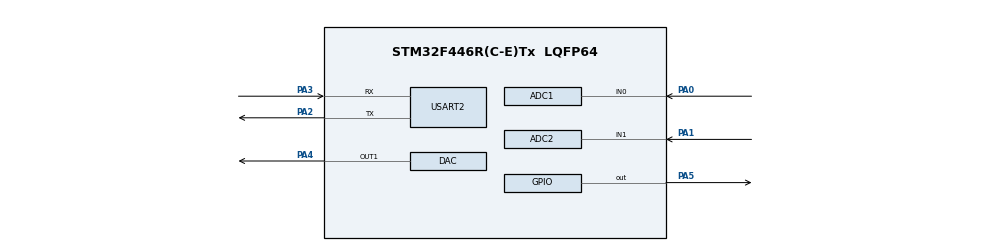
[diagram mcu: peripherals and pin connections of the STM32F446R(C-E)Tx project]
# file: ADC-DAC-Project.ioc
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ADC1.Channel-0\#ChannelRegularConversion=ADC_CHANNEL_0
ADC1.ClockPrescaler=ADC_CLOCK_SYNC_PCLK_DIV4
ADC1.ContinuousConvMode=ENABLE
ADC1.DMAContinuousRequests=ENABLE
ADC1.EnableAnalogWatchDog=true
ADC1.ExternalTrigConv=ADC_SOFTWARE_START
ADC1.HighThreshold=3100
ADC1.ITMode=ENABLE
ADC1.LowThreshold=1240
ADC1.Mode=ADC_DUALMODE_REGSIMULT
ADC1.NbrOfConversion=1
ADC1.NbrOfConversionFlag=1
ADC1.Rank-0\#ChannelRegularConversion=1
ADC1.SamplingTime-0\#ChannelRegularConversion=ADC_SAMPLETIME_84CYCLES
ADC1.master=1
ADC2.Channel-0\#ChannelRegularConversion=ADC_CHANNEL_1
ADC2.ClockPrescaler=ADC_CLOCK_SYNC_PCLK_DIV4
ADC2.DMAAccessMode=ADC_DMAACCESSMODE_2
ADC2.Mode=ADC_DUALMODE_REGSIMULT
ADC2.NbrOfConversionFlag=1
ADC2.Rank-0\#ChannelRegularConversion=1
ADC2.SamplingTime-0\#ChannelRegularConversion=ADC_SAMPLETIME_84CYCLES
Dma.ADC1.0.Direction=DMA_PERIPH_TO_MEMORY
Dma.ADC1.0.FIFOMode=DMA_FIFOMODE_DISABLE
Dma.ADC1.0.Instance=DMA2_Stream0
Dma.ADC1.0.MemDataAlignment=DMA_MDATAALIGN_WORD
Dma.ADC1.0.MemInc=DMA_MINC_ENABLE
Dma.ADC1.0.Mode=DMA_CIRCULAR
Dma.ADC1.0.PeriphDataAlignment=DMA_PDATAALIGN_WORD
Dma.ADC1.0.PeriphInc=DMA_PINC_DISABLE
Dma.ADC1.0.Priority=DMA_PRIORITY_LOW
Dma.Request0=ADC1
Mcu.Family=STM32F4
Mcu.Name=STM32F446R(C-E)Tx
Mcu.Package=LQFP64
NVIC.ADC_IRQn=true\:0\:0\:false\:false\:true\:true\:true\:true
NVIC.DMA2_Stream0_IRQn=true\:0\:0\:false\:false\:true\:false\:true\:true
NVIC.PriorityGroup=NVIC_PRIORITYGROUP_4
PA0-WKUP.Signal=ADCx_IN0
PA1.Signal=ADCx_IN1
PA13.Mode=Serial_Wire
PA13.Signal=SYS_JTMS-SWDIO
PA14.Mode=Serial_Wire
PA14.Signal=SYS_JTCK-SWCLK
PA2.Mode=Asynchronous
PA2.Signal=USART2_TX
PA3.Mode=Asynchronous
PA3.Signal=USART2_RX
PA4.Signal=COMP_DAC1_group
PA5.Signal=GPIO_Output
ProjectManager.HeapSize=0x200
ProjectManager.StackSize=0x400
ProjectManager.TargetToolchain=STM32CubeIDE
RCC.CortexFreq_Value=16000000
RCC.USBFreq_Value=96000000
RCC.VCOOutputFreq_Value=192000000
SH.ADCx_IN0.0=ADC1_IN0,IN0
SH.ADCx_IN1.0=ADC2_IN1,IN1
SH.COMP_DAC1_group.0=DAC_OUT1,DAC_OUT1
TIM2.Period=499
TIM2.Prescaler=15999
TIM2.TIM_MasterOutputTrigger=TIM_TRGO_UPDATE
USART2.VirtualMode=VM_ASYNC
VP_TIM2_VS_ClockSourceINT.Mode=Internal
board=custom

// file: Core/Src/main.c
/* USER CODE BEGIN Header */
/**
  ******************************************************************************
  * @file           : main.c
  * @brief          : Main program body
  ******************************************************************************
  * @attention
  *
  * Copyright (c) 2026 STMicroelectronics.
  * All rights reserved.
  *
  * This software is licensed under terms that can be found in the LICENSE file
  * in the root directory of this software component.
  * If no LICENSE file comes with this software, it is provided AS-IS.
  *
  ******************************************************************************
  */
/* USER CODE END Header */
#include "main.h"

/* USER CODE BEGIN Includes */
#include "stdio.h"
#include "string.h"
/* USER CODE END Includes */

ADC_HandleTypeDef hadc1;
ADC_HandleTypeDef hadc2;
DMA_HandleTypeDef hdma_adc1;

DAC_HandleTypeDef hdac;

TIM_HandleTypeDef htim2;

UART_HandleTypeDef huart2;

/* USER CODE BEGIN PV */
#define FILTER_DEPTH 10

uint32_t dual_adc_raw = 0;
uint16_t adc1_raw = 0;
uint16_t adc2_raw = 0;
uint16_t filter_buf_ch0[FILTER_DEPTH] = {0};
uint16_t filter_buf_ch1[FILTER_DEPTH] = {0};
uint8_t filter_idx = 0;
uint32_t filtered_ch0 = 0;
uint32_t filtered_ch1 = 0;
uint32_t filtered_mv_ch0 = 0;
uint32_t filtered_mv_ch1 = 0;
volatile uint8_t adc_ready = 0;
volatile uint8_t awd_alarm = 0;
/* USER CODE END PV */

void SystemClock_Config(void);
static void MX_GPIO_Init(void);
static void MX_DMA_Init(void);
static void MX_ADC1_Init(void);
static void MX_USART2_UART_Init(void);
static void MX_TIM2_Init(void);
static void MX_DAC_Init(void);
static void MX_ADC2_Init(void);

/* USER CODE BEGIN 0 */
uint32_t Apply_Moving_Average(uint16_t new_sample, uint16_t *buffer, uint8_t index)
{
  buffer[index] = new_sample;
  uint32_t sum = 0;
  for (uint8_t i = 0; i < FILTER_DEPTH; i++)
  {
    sum += buffer[i];
  }
  return (sum / FILTER_DEPTH);
}

void HAL_ADC_ConvCpltCallback(ADC_HandleTypeDef* hadc)
{
  if (hadc->Instance == ADC1)
  {
    adc_ready = 1;
  }
}
void HAL_ADC_LevelOutOfWindowCallback(ADC_HandleTypeDef* hadc)
{
  if (hadc->Instance == ADC1)
  {
    awd_alarm = 1;
  }
}
/* USER CODE END 0 */

int main(void)
{

  /* MCU Configuration--------------------------------------------------------*/

  /* Reset of all peripherals, Initializes the Flash interface and the Systick. */
  HAL_Init();

  /* Configure the system clock */
  SystemClock_Config();

  /* Initialize all configured peripherals */
  MX_GPIO_Init();
  MX_DMA_Init();
  MX_ADC1_Init();
  MX_USART2_UART_Init();
  MX_TIM2_Init();
  MX_DAC_Init();
  MX_ADC2_Init();
  /* USER CODE BEGIN 2 */
  HAL_ADC_Start(&hadc2);
  HAL_ADCEx_MultiModeStart_DMA(&hadc1, &dual_adc_raw, 1);
  HAL_DAC_Start(&hdac, DAC_CHANNEL_1);
  HAL_DAC_SetValue(&hdac, DAC_CHANNEL_1, DAC_ALIGN_12B_R, 1861);
  /* USER CODE END 2 */

  /* Infinite loop */
  while (1)
  {

    /* USER CODE BEGIN 3 */
	  if (adc_ready)
	      {
	        adc_ready = 0;

	        adc1_raw = (uint16_t)(dual_adc_raw & 0xFFFF);
	        adc2_raw = (uint16_t)((dual_adc_raw >> 16) & 0xFFFF);

	        filtered_ch0 = Apply_Moving_Average(adc1_raw, filter_buf_ch0, filter_idx);
	        filtered_ch1 = Apply_Moving_Average(adc2_raw, filter_buf_ch1, filter_idx);

	        filter_idx = (filter_idx + 1) % FILTER_DEPTH;
	        filtered_mv_ch0 = (filtered_ch0 * 3300) / 4095;
	        filtered_mv_ch1 = (filtered_ch1 * 3300) / 4095;

	        char msg[200];

	        if (awd_alarm)
	        {
	          awd_alarm = 0;
	          HAL_GPIO_WritePin(GPIOA, GPIO_PIN_5, GPIO_PIN_SET);

	          snprintf(msg, sizeof(msg),
	                   "[DUAL] ADC1 RAW: %u | ADC1 FILT: %u (%lu mV) [ALARM] | ADC2 RAW: %u | ADC2 FILT: %u (%lu mV)\r\n",
	                   adc1_raw, (unsigned int)filtered_ch0, (unsigned long)filtered_mv_ch0,
	                   adc2_raw, (unsigned int)filtered_ch1, (unsigned long)filtered_mv_ch1);
	        }
	        else
	        {
	          HAL_GPIO_WritePin(GPIOA, GPIO_PIN_5, GPIO_PIN_RESET);

	          snprintf(msg, sizeof(msg),
	                   "[DUAL] ADC1 RAW: %u | ADC1 FILT: %u (%lu mV) [NORMAL] | ADC2 RAW: %u | ADC2 FILT: %u (%lu mV)\r\n",
	                   adc1_raw, (unsigned int)filtered_ch0, (unsigned long)filtered_mv_ch0,
	                   adc2_raw, (unsigned int)filtered_ch1, (unsigned long)filtered_mv_ch1);
	        }

	        HAL_UART_Transmit(&huart2, (uint8_t*)msg, (uint16_t)strlen(msg), HAL_MAX_DELAY);

	        HAL_Delay(200);
	      }
	    }
  /* USER CODE END 3 */
}

void SystemClock_Config(void)
{
  RCC_OscInitTypeDef RCC_OscInitStruct = {0};
  RCC_ClkInitTypeDef RCC_ClkInitStruct = {0};

  /** Configure the main internal regulator output voltage
  */
  __HAL_RCC_PWR_CLK_ENABLE();
  __HAL_PWR_VOLTAGESCALING_CONFIG(PWR_REGULATOR_VOLTAGE_SCALE3);

  /** Initializes the RCC Oscillators according to the specified parameters
  * in the RCC_OscInitTypeDef structure.
  */
  RCC_OscInitStruct.OscillatorType = RCC_OSCILLATORTYPE_HSI;
  RCC_OscInitStruct.HSIState = RCC_HSI_ON;
  RCC_OscInitStruct.HSICalibrationValue = RCC_HSICALIBRATION_DEFAULT;
  RCC_OscInitStruct.PLL.PLLState = RCC_PLL_NONE;
  if (HAL_RCC_OscConfig(&RCC_OscInitStruct) != HAL_OK)
  {
    Error_Handler();
  }

  /** Initializes the CPU, AHB and APB buses clocks
  */
  RCC_ClkInitStruct.ClockType = RCC_CLOCKTYPE_HCLK|RCC_CLOCKTYPE_SYSCLK
                              |RCC_CLOCKTYPE_PCLK1|RCC_CLOCKTYPE_PCLK2;
  RCC_ClkInitStruct.SYSCLKSource = RCC_SYSCLKSOURCE_HSI;
  RCC_ClkInitStruct.AHBCLKDivider = RCC_SYSCLK_DIV1;
  RCC_ClkInitStruct.APB1CLKDivider = RCC_HCLK_DIV1;
  RCC_ClkInitStruct.APB2CLKDivider = RCC_HCLK_DIV1;

  if (HAL_RCC_ClockConfig(&RCC_ClkInitStruct, FLASH_LATENCY_0) != HAL_OK)
  {
    Error_Handler();
  }
}

static void MX_ADC1_Init(void)
{

  ADC_MultiModeTypeDef multimode = {0};
  ADC_AnalogWDGConfTypeDef AnalogWDGConfig = {0};
  ADC_ChannelConfTypeDef sConfig = {0};

  /** Configure the global features of the ADC (Clock, Resolution, Data Alignment and number of conversion)
  */
  hadc1.Instance = ADC1;
  hadc1.Init.ClockPrescaler = ADC_CLOCK_SYNC_PCLK_DIV4;
  hadc1.Init.Resolution = ADC_RESOLUTION_12B;
  hadc1.Init.ScanConvMode = DISABLE;
  hadc1.Init.ContinuousConvMode = ENABLE;
  hadc1.Init.DiscontinuousConvMode = DISABLE;
  hadc1.Init.ExternalTrigConvEdge = ADC_EXTERNALTRIGCONVEDGE_NONE;
  hadc1.Init.ExternalTrigConv = ADC_SOFTWARE_START;
  hadc1.Init.DataAlign = ADC_DATAALIGN_RIGHT;
  hadc1.Init.NbrOfConversion = 1;
  hadc1.Init.DMAContinuousRequests = ENABLE;
  hadc1.Init.EOCSelection = ADC_EOC_SINGLE_CONV;
  if (HAL_ADC_Init(&hadc1) != HAL_OK)
  {
    Error_Handler();
  }

  /** Configure the ADC multi-mode
  */
  multimode.Mode = ADC_DUALMODE_REGSIMULT;
  multimode.DMAAccessMode = ADC_DMAACCESSMODE_2;
  multimode.TwoSamplingDelay = ADC_TWOSAMPLINGDELAY_5CYCLES;
  if (HAL_ADCEx_MultiModeConfigChannel(&hadc1, &multimode) != HAL_OK)
  {
    Error_Handler();
  }

  /** Configure the analog watchdog
  */
  AnalogWDGConfig.WatchdogMode = ADC_ANALOGWATCHDOG_SINGLE_REG;
  AnalogWDGConfig.HighThreshold = 3100;
  AnalogWDGConfig.LowThreshold = 1240;
  AnalogWDGConfig.Channel = ADC_CHANNEL_0;
  AnalogWDGConfig.ITMode = ENABLE;
  if (HAL_ADC_AnalogWDGConfig(&hadc1, &AnalogWDGConfig) != HAL_OK)
  {
    Error_Handler();
  }

  /** Configure for the selected ADC regular channel its corresponding rank in the sequencer and its sample time.
  */
  sConfig.Channel = ADC_CHANNEL_0;
  sConfig.Rank = 1;
  sConfig.SamplingTime = ADC_SAMPLETIME_84CYCLES;
  if (HAL_ADC_ConfigChannel(&hadc1, &sConfig) != HAL_OK)
  {
    Error_Handler();
  }

}

static void MX_ADC2_Init(void)
{

  ADC_ChannelConfTypeDef sConfig = {0};

  /** Configure the global features of the ADC (Clock, Resolution, Data Alignment and number of conversion)
  */
  hadc2.Instance = ADC2;
  hadc2.Init.ClockPrescaler = ADC_CLOCK_SYNC_PCLK_DIV4;
  hadc2.Init.Resolution = ADC_RESOLUTION_12B;
  hadc2.Init.ScanConvMode = DISABLE;
  hadc2.Init.ContinuousConvMode = ENABLE;
  hadc2.Init.DiscontinuousConvMode = DISABLE;
  hadc2.Init.DataAlign = ADC_DATAALIGN_RIGHT;
  hadc2.Init.NbrOfConversion = 1;
  hadc2.Init.DMAContinuousRequests = DISABLE;
  hadc2.Init.EOCSelection = ADC_EOC_SINGLE_CONV;
  if (HAL_ADC_Init(&hadc2) != HAL_OK)
  {
    Error_Handler();
  }

  /** Configure for the selected ADC regular channel its corresponding rank in the sequencer and its sample time.
  */
  sConfig.Channel = ADC_CHANNEL_1;
  sConfig.Rank = 1;
  sConfig.SamplingTime = ADC_SAMPLETIME_84CYCLES;
  if (HAL_ADC_ConfigChannel(&hadc2, &sConfig) != HAL_OK)
  {
    Error_Handler();
  }

}

static void MX_DAC_Init(void)
{

  DAC_ChannelConfTypeDef sConfig = {0};

  /** DAC Initialization
  */
  hdac.Instance = DAC;
  if (HAL_DAC_Init(&hdac) != HAL_OK)
  {
    Error_Handler();
  }

  /** DAC channel OUT1 config
  */
  sConfig.DAC_Trigger = DAC_TRIGGER_NONE;
  sConfig.DAC_OutputBuffer = DAC_OUTPUTBUFFER_ENABLE;
  if (HAL_DAC_ConfigChannel(&hdac, &sConfig, DAC_CHANNEL_1) != HAL_OK)
  {
    Error_Handler();
  }

}

static void MX_TIM2_Init(void)
{

  TIM_ClockConfigTypeDef sClockSourceConfig = {0};
  TIM_MasterConfigTypeDef sMasterConfig = {0};

  htim2.Instance = TIM2;
  htim2.Init.Prescaler = 15999;
  htim2.Init.CounterMode = TIM_COUNTERMODE_UP;
  htim2.Init.Period = 499;
  htim2.Init.ClockDivision = TIM_CLOCKDIVISION_DIV1;
  htim2.Init.AutoReloadPreload = TIM_AUTORELOAD_PRELOAD_DISABLE;
  if (HAL_TIM_Base_Init(&htim2) != HAL_OK)
  {
    Error_Handler();
  }
  sClockSourceConfig.ClockSource = TIM_CLOCKSOURCE_INTERNAL;
  if (HAL_TIM_ConfigClockSource(&htim2, &sClockSourceConfig) != HAL_OK)
  {
    Error_Handler();
  }
  sMasterConfig.MasterOutputTrigger = TIM_TRGO_UPDATE;
  sMasterConfig.MasterSlaveMode = TIM_MASTERSLAVEMODE_DISABLE;
  if (HAL_TIMEx_MasterConfigSynchronization(&htim2, &sMasterConfig) != HAL_OK)
  {
    Error_Handler();
  }

}

static void MX_USART2_UART_Init(void)
{

  huart2.Instance = USART2;
  huart2.Init.BaudRate = 115200;
  huart2.Init.WordLength = UART_WORDLENGTH_8B;
  huart2.Init.StopBits = UART_STOPBITS_1;
  huart2.Init.Parity = UART_PARITY_NONE;
  huart2.Init.Mode = UART_MODE_TX_RX;
  huart2.Init.HwFlowCtl = UART_HWCONTROL_NONE;
  huart2.Init.OverSampling = UART_OVERSAMPLING_16;
  if (HAL_UART_Init(&huart2) != HAL_OK)
  {
    Error_Handler();
  }

}

static void MX_DMA_Init(void)
{

  /* DMA controller clock enable */
  __HAL_RCC_DMA2_CLK_ENABLE();

  /* DMA interrupt init */
  /* DMA2_Stream0_IRQn interrupt configuration */
  HAL_NVIC_SetPriority(DMA2_Stream0_IRQn, 0, 0);
  HAL_NVIC_EnableIRQ(DMA2_Stream0_IRQn);

}

static void MX_GPIO_Init(void)
{
  GPIO_InitTypeDef GPIO_InitStruct = {0};

  /* GPIO Ports Clock Enable */
  __HAL_RCC_GPIOA_CLK_ENABLE();

  /*Configure GPIO pin Output Level */
  HAL_GPIO_WritePin(GPIOA, GPIO_PIN_5, GPIO_PIN_RESET);

  /*Configure GPIO pin : PA5 */
  GPIO_InitStruct.Pin = GPIO_PIN_5;
  GPIO_InitStruct.Mode = GPIO_MODE_OUTPUT_PP;
  GPIO_InitStruct.Pull = GPIO_NOPULL;
  GPIO_InitStruct.Speed = GPIO_SPEED_FREQ_LOW;
  HAL_GPIO_Init(GPIOA, &GPIO_InitStruct);

}

void Error_Handler(void)
{
  __disable_irq();
  while (1)
  {
  }
}
